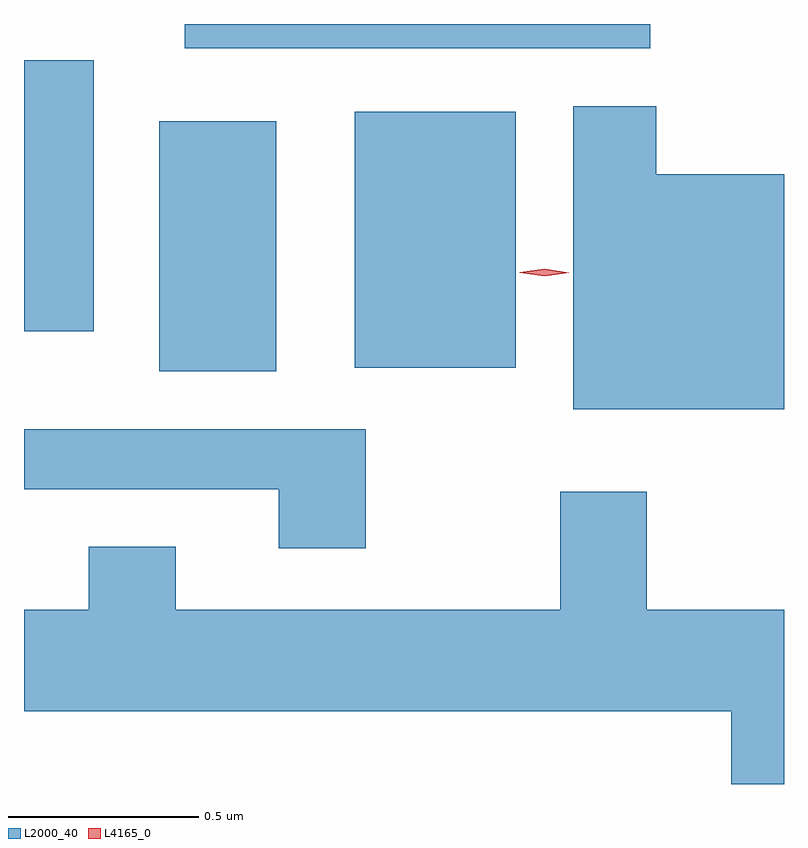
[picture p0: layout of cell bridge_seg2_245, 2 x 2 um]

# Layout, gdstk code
import gdstk
lib = gdstk.Library(unit=1e-6, precision=1e-09)
def R(c, l, rs):  # rectangles x0, y0, x1, y1
    for r in rs: c.add(gdstk.rectangle(r[:2], r[2:], *l))
def P(c, l, *ps):  # polygons
    for p in ps: c.add(gdstk.Polygon(p, *l))
L2000_40 = (2000, 40)
L4165_0 = (4165, 0)

bridge_seg2_245 = lib.new_cell('bridge_seg2_245')
R(bridge_seg2_245, L2000_40, [(601.946,1111.371,602.254,1112.029), (602.461,1111.381,602.884,1112.054), (601.59,1111.476,601.774,1112.189), (602.013,1112.221,603.238,1112.285)])
P(bridge_seg2_245, L2000_40, [(603.59,1111.889),(603.254,1111.889),(603.254,1112.069),(603.036,1112.069),(603.036,1111.271),(603.59,1111.271)],
  [(602.489,1111.219),(601.59,1111.219),(601.59,1111.061),(602.261,1111.061),(602.261,1110.906),(602.489,1110.906)],
  [(603.59,1110.744),(603.229,1110.744),(603.229,1111.054),(603.001,1111.054),(603.001,1110.744),(601.989,1110.744),(601.989,1110.909),(601.761,1110.909),(601.761,1110.744),(601.59,1110.744),(601.59,1110.476),(603.451,1110.476),(603.451,1110.285),(603.59,1110.285)])
P(bridge_seg2_245, L4165_0, [(602.96,1111.621),(602.894,1111.631),(602.894,1111.631),(602.894,1111.632),(602.96,1111.641),(603.025,1111.631),(603.025,1111.63),(603.025,1111.63)])

lib.write_gds('bridge_seg2_245.gds')
